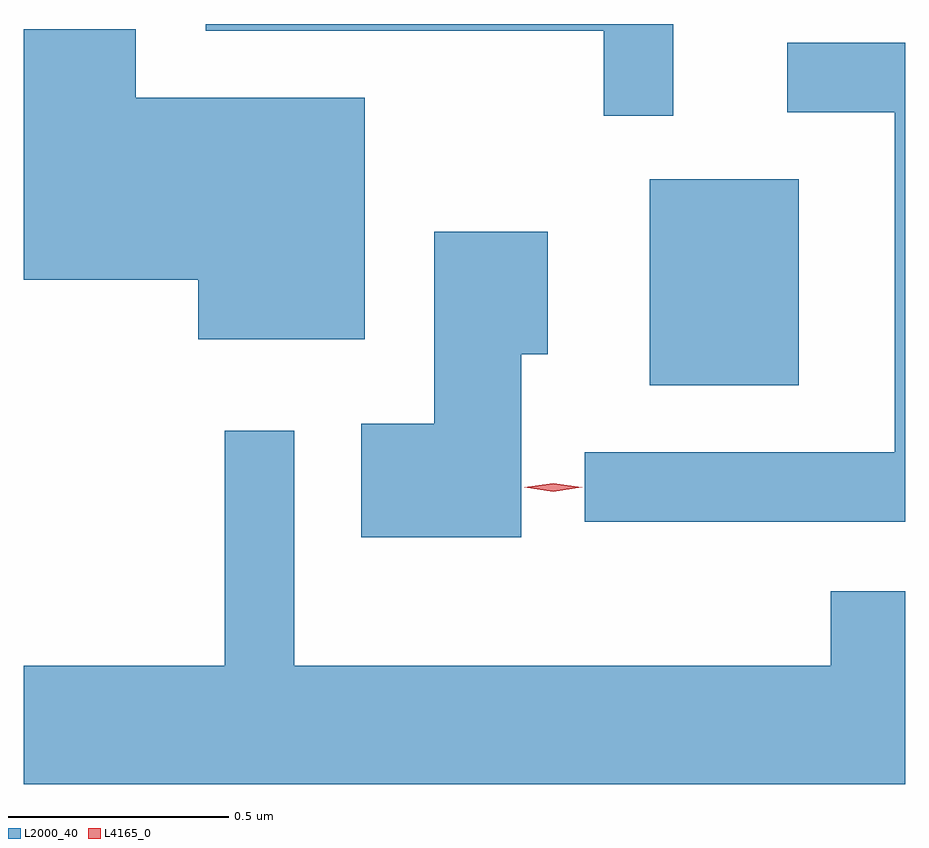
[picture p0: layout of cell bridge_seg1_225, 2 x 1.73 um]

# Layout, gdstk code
import gdstk
lib = gdstk.Library(unit=1e-6, precision=1e-09)
def R(c, l, rs):  # rectangles x0, y0, x1, y1
    for r in rs: c.add(gdstk.rectangle(r[:2], r[2:], *l))
def P(c, l, *ps):  # polygons
    for p in ps: c.add(gdstk.Polygon(p, *l))
L2000_40 = (2000, 40)
L4165_0 = (4165, 0)

bridge_seg1_225 = lib.new_cell('bridge_seg1_225')
R(bridge_seg1_225, L2000_40, [(800.551,882.721,800.889,883.189)])
P(bridge_seg1_225, L2000_40, [(800.604,883.541),(799.543,883.541),(799.543,883.526),(800.446,883.526),(800.446,883.333),(800.604,883.333)],
  [(799.904,883.374),(799.384,883.374),(799.384,883.529),(799.13,883.529),(799.13,882.961),(799.526,882.961),(799.526,882.826),(799.904,882.826)],
  [(801.13,883.499),(800.863,883.499),(800.863,883.341),(801.106,883.341),(801.106,882.569),(800.403,882.569),(800.403,882.411),(801.13,882.411)],
  [(800.259,882.791),(800.319,882.791),(800.319,883.069),(800.061,883.069),(800.061,882.634),(799.896,882.634),(799.896,882.376),(800.259,882.376)],
  [(801.13,882.254),(800.961,882.254),(800.961,882.084),(799.744,882.084),(799.744,882.618),(799.586,882.618),(799.586,882.084),(799.13,882.084),(799.13,881.816),(801.13,881.816)])
P(bridge_seg1_225, L4165_0, [(800.331,882.479),(800.266,882.489),(800.266,882.489),(800.266,882.49),(800.331,882.499),(800.396,882.49),(800.397,882.489),(800.396,882.489)])

lib.write_gds('bridge_seg1_225.gds')
